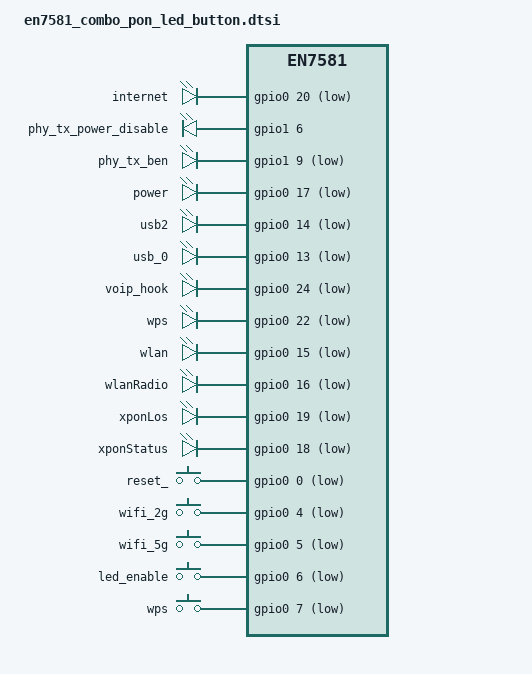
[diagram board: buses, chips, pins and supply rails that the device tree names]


#include <dt-bindings/interrupt-controller/irq.h>
#include <dt-bindings/interrupt-controller/arm-gic.h>

/ {
	compatible = "econet,en7581", "airoha,en7581";
	#address-cells = <2>;
	#size-cells = <2>;

	leds {
		compatible = "gpio-leds";

		internet {
			label = "internet";
			gpios = <&gpio0 20 GPIO_ACTIVE_LOW>;
			linux,default-trigger = "dsldev";
		};
		phy_tx_power_disable {
			label = "phy_tx_power_disable";
			gpios = <&gpio1 6 GPIO_ACTIVE_HIGH>;
			linux,default-trigger = "dsldev";
			default-state = "on";
		};
		phy_tx_ben {
			label = "phy_tx_ben";
			gpios = <&gpio1 9 GPIO_ACTIVE_LOW>;
			linux,default-trigger = "dsldev";
			default-state = "on";
		};
		power {
			label = "power";
			gpios = <&gpio0 17 GPIO_ACTIVE_LOW>;
			linux,default-trigger = "dsldev";
			default-state = "on";
		};
		usb2 {
			label = "usb2";
			gpios = <&gpio0 14 GPIO_ACTIVE_LOW>;
			linux,default-trigger = "dsldev";
		};
		usb_0 {
			label = "usb_0";
			gpios = <&gpio0 13 GPIO_ACTIVE_LOW>;
			linux,default-trigger = "dsldev";
		};
		voip_hook {
			label = "voip_hook";
			gpios = <&gpio0 24 GPIO_ACTIVE_LOW>;
			linux,default-trigger = "dsldev";
		};
		wps {
			label = "wps";
			gpios = <&gpio0 22 GPIO_ACTIVE_LOW>;
			linux,default-trigger = "dsldev";
		};
		wlan_2g {
			label = "wlan";
			gpios = <&gpio0 15 GPIO_ACTIVE_LOW>;
			linux,default-trigger = "dsldev";
		};
		wlan_5g {
			label = "wlanRadio";
			gpios = <&gpio0 16 GPIO_ACTIVE_LOW>;
			linux,default-trigger = "dsldev";
		};
		xponLos {
			label = "xponLos";
			gpios = <&gpio0 19 GPIO_ACTIVE_LOW>;
			linux,default-trigger = "dsldev";
		};
		xponStatus {
			label = "xponStatus";
			gpios = <&gpio0 18 GPIO_ACTIVE_LOW>;
			linux,default-trigger = "dsldev";
		};
	};
	
	gpio-keys-polled {
		compatible = "gpio-keys-polled";
		poll-interval = <100>;
		
		reset_ {
			label = "reset_";
			linux,code = <BTN_0>;
			gpios = <&gpio0 0 GPIO_ACTIVE_LOW>;
		};
		
		wifi_2g {
			label = "wifi_2g";
			linux,code = <BTN_2>;
			gpios = <&gpio0 4 GPIO_ACTIVE_LOW>;
		};
		
		wifi_5g {
			label = "wifi_5g";
			linux,code = <BTN_3>;
			gpios = <&gpio0 5 GPIO_ACTIVE_LOW>;
		};
		
		led_enable {
			label = "led_enable";
			linux,code = <BTN_1>;
			gpios = <&gpio0 6 GPIO_ACTIVE_LOW>;
		};
		
		wps {
			label = "wps";
			linux,code = <KEY_WPS_BUTTON>;
			gpios = <&gpio0 7 GPIO_ACTIVE_LOW>;
		};
	};
};
